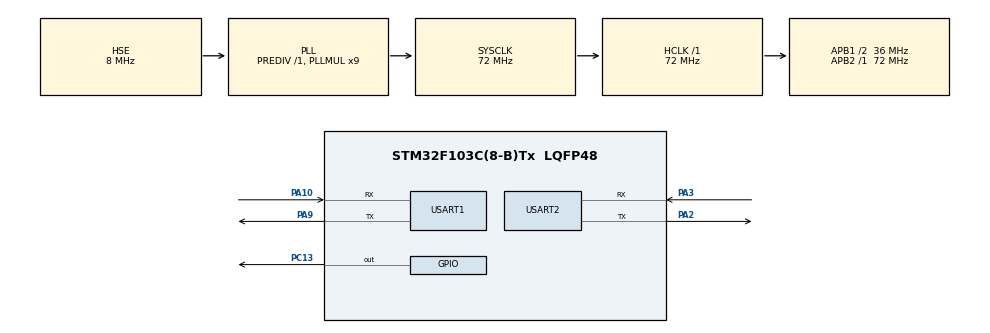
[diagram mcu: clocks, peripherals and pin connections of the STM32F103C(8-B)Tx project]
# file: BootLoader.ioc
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Mcu.Family=STM32F1
Mcu.Name=STM32F103C(8-B)Tx
Mcu.Package=LQFP48
NVIC.PriorityGroup=NVIC_PRIORITYGROUP_4
NVIC.USART1_IRQn=true\:0\:0\:false\:false\:true\:true\:true\:true
PA10.Mode=Asynchronous
PA10.Signal=USART1_RX
PA13.Mode=Serial_Wire
PA13.Signal=SYS_JTMS-SWDIO
PA14.Mode=Serial_Wire
PA14.Signal=SYS_JTCK-SWCLK
PA2.Mode=Asynchronous
PA2.Signal=USART2_TX
PA3.Mode=Asynchronous
PA3.Signal=USART2_RX
PA9.Mode=Asynchronous
PA9.Signal=USART1_TX
PC13-TAMPER-RTC.Signal=GPIO_Output
PD0-OSC_IN.Mode=HSE-External-Oscillator
PD0-OSC_IN.Signal=RCC_OSC_IN
PD1-OSC_OUT.Mode=HSE-External-Oscillator
PD1-OSC_OUT.Signal=RCC_OSC_OUT
ProjectManager.HeapSize=0x200
ProjectManager.StackSize=0x400
ProjectManager.TargetToolchain=STM32CubeIDE
RCC.AHBFreq_Value=72000000
RCC.APB1CLKDivider=RCC_HCLK_DIV2
RCC.APB1Freq_Value=36000000
RCC.APB1TimFreq_Value=72000000
RCC.APB2Freq_Value=72000000
RCC.APB2TimFreq_Value=72000000
RCC.HCLKFreq_Value=72000000
RCC.PLLMUL=RCC_PLL_MUL9
RCC.PLLSourceVirtual=RCC_PLLSOURCE_HSE
RCC.SYSCLKFreq_VALUE=72000000
RCC.SYSCLKSource=RCC_SYSCLKSOURCE_PLLCLK
RCC.USBFreq_Value=72000000
USART1.VirtualMode=VM_ASYNC
USART2.VirtualMode=VM_ASYNC
board=custom

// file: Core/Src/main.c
/* USER CODE BEGIN Header */
/**
  ******************************************************************************
  * @file           : main.c
  * @brief          : Main program body
  ******************************************************************************
  * @attention
  *
  * Copyright (c) 2024 STMicroelectronics.
  * All rights reserved.
  *
  * This software is licensed under terms that can be found in the LICENSE file
  * in the root directory of this software component.
  * If no LICENSE file comes with this software, it is provided AS-IS.
  *
  ******************************************************************************
  */
/* USER CODE END Header */
#include "main.h"
#include "usart.h"
#include "gpio.h"

/* USER CODE BEGIN Includes */
#include "flash.h"
#include <string.h>
#include <stdbool.h>
#include <stdlib.h>
/* USER CODE END Includes */

/* USER CODE BEGIN PTD */

typedef  void (*pFunction)(void);
#define APPLICATION_ADDRESS     (uint32_t)0x08004000  //鐎规矮绠烝PP鏉╂劘顢戦崷鏉挎絻
pFunction JumpToApplication;
uint32_t JumpAddress;

uint8_t receive_status=0;
/* USER CODE END PTD */

void SystemClock_Config(void);

/* USER CODE BEGIN 0 */

#define BUFFER_SIZE 1024
uint8_t rxBuffer[BUFFER_SIZE];
volatile uint32_t rxBufferIndex = 0;
volatile uint8_t startReceived = 0;
#define MAX_STR_LENGTH 100

#define MAX_MESSAGE_LENGTH 1024

char receivedMessage[MAX_MESSAGE_LENGTH];
uint8_t messageIndex = 0;
uint8_t isNewlineReceived = 0;
uint8_t isUpdateReceived = 0;

/* USER CODE END 0 */

int main(void)
{

  /* MCU Configuration--------------------------------------------------------*/

  /* Reset of all peripherals, Initializes the Flash interface and the Systick. */
  HAL_Init();

  /* Configure the system clock */
  SystemClock_Config();

  /* Initialize all configured peripherals */
  MX_GPIO_Init();
  MX_USART1_UART_Init();
  MX_USART2_UART_Init();
  /* USER CODE BEGIN 2 */
    //HAL_UART_Receive_IT(&huart1, &rxBuffer[0], 1); //
   // HAL_UART_Transmit(&huart1, (uint8_t *)"TEST\r\n", 10, HAL_MAX_DELAY);

    /* USER CODE END 2 */

  /* Infinite loop */
    while (1)
    {

    /* USER CODE BEGIN 3 */
        HAL_GPIO_TogglePin(GPIOC,GPIO_PIN_13);
        HAL_Delay(1000);

        if (receive_status == 1) {
            // 执行相应操作
            JumpAddress = *(__IO uint32_t*) (APPLICATION_ADDRESS + 4);
            JumpToApplication = (pFunction) JumpAddress;
            __set_MSP(*(__IO uint32_t*) APPLICATION_ADDRESS);
            JumpToApplication();

            // 操作执行完毕后将标志位设置为 0
            receive_status = 0;
        }

    }
  /* USER CODE END 3 */
}

void SystemClock_Config(void)
{
  RCC_OscInitTypeDef RCC_OscInitStruct = {0};
  RCC_ClkInitTypeDef RCC_ClkInitStruct = {0};

  /** Initializes the RCC Oscillators according to the specified parameters
  * in the RCC_OscInitTypeDef structure.
  */
  RCC_OscInitStruct.OscillatorType = RCC_OSCILLATORTYPE_HSE;
  RCC_OscInitStruct.HSEState = RCC_HSE_ON;
  RCC_OscInitStruct.HSEPredivValue = RCC_HSE_PREDIV_DIV1;
  RCC_OscInitStruct.HSIState = RCC_HSI_ON;
  RCC_OscInitStruct.PLL.PLLState = RCC_PLL_ON;
  RCC_OscInitStruct.PLL.PLLSource = RCC_PLLSOURCE_HSE;
  RCC_OscInitStruct.PLL.PLLMUL = RCC_PLL_MUL9;
  if (HAL_RCC_OscConfig(&RCC_OscInitStruct) != HAL_OK)
  {
    Error_Handler();
  }

  /** Initializes the CPU, AHB and APB buses clocks
  */
  RCC_ClkInitStruct.ClockType = RCC_CLOCKTYPE_HCLK|RCC_CLOCKTYPE_SYSCLK
                              |RCC_CLOCKTYPE_PCLK1|RCC_CLOCKTYPE_PCLK2;
  RCC_ClkInitStruct.SYSCLKSource = RCC_SYSCLKSOURCE_PLLCLK;
  RCC_ClkInitStruct.AHBCLKDivider = RCC_SYSCLK_DIV1;
  RCC_ClkInitStruct.APB1CLKDivider = RCC_HCLK_DIV2;
  RCC_ClkInitStruct.APB2CLKDivider = RCC_HCLK_DIV1;

  if (HAL_RCC_ClockConfig(&RCC_ClkInitStruct, FLASH_LATENCY_2) != HAL_OK)
  {
    Error_Handler();
  }
}

void Error_Handler(void)
{
  __disable_irq();
  while (1)
  {
  }
}
